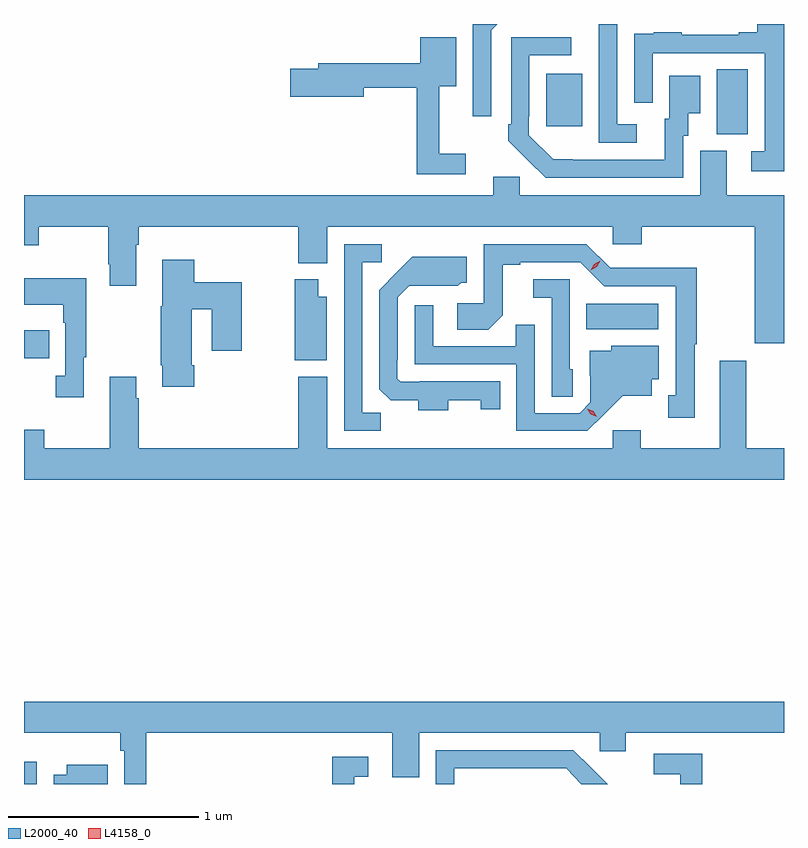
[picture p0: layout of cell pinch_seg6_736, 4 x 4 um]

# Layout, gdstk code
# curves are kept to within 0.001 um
import gdstk
lib = gdstk.Library(unit=1e-6, precision=1e-09)
def R(c, l, rs):  # rectangles x0, y0, x1, y1
    for r in rs: c.add(gdstk.rectangle(r[:2], r[2:], *l))
def P(c, l, *ps):  # polygons
    for p in ps: c.add(gdstk.Polygon(p, *l))
L2000_40 = (2000, 40)
L4158_0 = (4158, 0)

pinch_seg6_736 = lib.new_cell('pinch_seg6_736')
R(pinch_seg6_736, L2000_40, [(592.174,947.066,592.242,947.182), (592.174,949.306,592.307,949.453), (595.132,949.46,595.513,949.594), (595.82,950.485,595.984,950.828), (594.923,950.529,595.111,950.803)])
P(pinch_seg6_736, L2000_40, [(594.633,951.033),(594.666,951.066),(594.537,951.066),(594.537,950.58),(594.633,950.58)],
  [(595.399,950.538),(595.296,950.538),(595.296,951.066),(595.199,951.066),(595.199,950.899),(595.2,950.899),(595.2,950.442),(595.399,950.442)],
  [(596.174,951.066),(596.033,951.066),(596.033,951.022),(595.937,951.022),(595.937,951.009),(595.637,951.009),(595.637,951.022),(595.489,951.022),(595.489,951.015),(595.387,951.015),(595.387,950.906),(595.386,950.906),(595.386,950.652),(595.482,950.652),(595.482,950.913),(596.073,950.913),(596.073,950.397),(596.001,950.397),(596.001,950.292),(596.174,950.292)],
  [(595.644,950.478),(595.669,950.478),(595.669,950.597),(595.732,950.597),(595.732,950.794),(595.571,950.794),(595.571,950.568),(595.547,950.568),(595.547,950.352),(594.96,950.353),(594.831,950.481),(594.831,950.581),(594.834,950.581),(594.834,950.901),(595.054,950.901),(595.054,950.997),(594.738,950.997),(594.738,950.539),(594.723,950.539),(594.723,950.451),(594.92,950.256),(595.644,950.256)],
  [(594.499,950.383),(594.359,950.383),(594.359,950.738),(594.448,950.738),(594.448,950.995),(594.26,950.995),(594.26,950.86),(593.723,950.86),(593.723,950.831),(593.574,950.831),(593.574,950.684),(593.962,950.684),(593.962,950.731),(594.241,950.731),(594.241,950.274),(594.499,950.274)],
  [(596.174,950.164),(595.873,950.164),(595.873,950.4),(595.733,950.4),(595.733,950.164),(594.783,950.164),(594.783,950.262),(594.644,950.262),(594.644,950.164),(592.174,950.164),(592.174,949.901),(592.251,949.901),(592.251,950),(592.618,950),(592.618,949.801),(592.625,949.801),(592.625,949.689),(592.765,949.689),(592.765,949.904),(592.778,949.904),(592.778,950),(593.618,950),(593.618,949.808),(593.77,949.808),(593.77,950),(595.272,950),(595.272,949.907),(595.424,949.907),(595.424,950),(596.021,950),(596.021,949.386),(596.174,949.386)],
  [(594.051,949.019),(593.955,949.019),(593.955,949.812),(594.058,949.812),(594.058,949.908),(593.859,949.908),(593.859,948.924),(594.051,948.924)],
  [(595.705,949.381),(595.715,949.381),(595.715,949.784),(595.482,949.784),(595.482,949.782),(595.26,949.782),(595.134,949.908),(594.594,949.908),(594.594,949.596),(594.453,949.596),(594.453,949.456),(594.617,949.456),(594.693,949.532),(594.693,949.8),(594.787,949.8),(594.787,949.812),(595.101,949.812),(595.227,949.686),(595.604,949.686),(595.604,949.113),(595.565,949.113),(595.565,948.993),(595.705,948.993)],
  [(594.406,949.087),(594.579,949.087),(594.579,949.038),(594.68,949.038),(594.68,949.185),(594.256,949.185),(594.256,949.182),(594.156,949.182),(594.138,949.2),(594.138,949.3),(594.141,949.3),(594.141,949.629),(594.201,949.689),(594.458,949.688),(594.474,949.704),(594.505,949.704),(594.505,949.84),(594.217,949.84),(594.045,949.666),(594.045,949.144),(594.104,949.085),(594.248,949.085),(594.248,949.034),(594.406,949.034)],
  [(593.069,949.27),(593.056,949.27),(593.056,949.565),(593.162,949.565),(593.162,949.347),(593.32,949.347),(593.32,949.707),(593.069,949.707),(593.069,949.825),(592.901,949.825),(592.901,949.581),(592.894,949.581),(592.894,949.27),(592.901,949.27),(592.901,949.158),(593.069,949.158)],
  [(592.489,949.313),(592.501,949.313),(592.501,949.729),(592.174,949.729),(592.174,949.589),(592.38,949.589),(592.38,949.493),(592.392,949.493),(592.392,949.214),(592.341,949.214),(592.341,949.101),(592.489,949.101)],
  [(593.767,949.63),(593.722,949.63),(593.722,949.723),(593.6,949.723),(593.6,949.295),(593.767,949.295)],
  [(595.062,949.248),(595.047,949.248),(595.047,949.722),(594.855,949.722),(594.855,949.625),(594.951,949.625),(594.951,949.105),(595.062,949.105)],
  [(595.222,949.007),(595.325,949.109),(595.477,949.109),(595.477,949.196),(595.516,949.196),(595.516,949.372),(595.266,949.372),(595.266,949.345),(595.151,949.345),(595.151,949.216),(595.155,949.216),(595.155,949.074),(595.098,949.017),(594.861,949.017),(594.861,949.484),(594.763,949.484),(594.763,949.371),(594.327,949.371),(594.327,949.585),(594.231,949.585),(594.231,949.275),(594.765,949.275),(594.765,948.924),(595.138,948.924)],
  [(595.272,948.928),(595.272,948.832),(593.77,948.832),(593.77,949.21),(593.618,949.21),(593.618,948.832),(592.778,948.832),(592.778,949.097),(592.765,949.097),(592.765,949.21),(592.625,949.21),(592.625,948.832),(592.281,948.832),(592.281,948.931),(592.174,948.931),(592.174,948.668),(596.174,948.668),(596.174,948.832),(595.975,948.832),(595.975,949.294),(595.835,949.294),(595.835,948.832),(595.419,948.832),(595.419,948.928)],
  [(592.817,947.336),(594.113,947.336),(594.113,947.101),(594.253,947.101),(594.253,947.336),(595.203,947.336),(595.203,947.238),(595.342,947.238),(595.342,947.336),(596.174,947.336),(596.174,947.5),(592.174,947.5),(592.174,947.336),(592.681,947.336),(592.681,947.24),(592.701,947.24),(592.701,947.066),(592.817,947.066)],
  [(594.439,947.148),(595.027,947.148),(595.108,947.066),(595.246,947.066),(595.158,947.154),(595.157,947.153),(595.066,947.244),(594.342,947.244),(594.342,947.066),(594.439,947.066)],
  [(595.745,947.226),(595.488,947.226),(595.488,947.118),(595.628,947.118),(595.628,947.066),(595.745,947.066)],
  [(593.913,947.103),(593.986,947.103),(593.986,947.209),(593.797,947.209),(593.797,947.066),(593.913,947.066)],
  [(592.616,947.167),(592.4,947.167),(592.4,947.116),(592.331,947.116),(592.331,947.066),(592.616,947.066)])
P(pinch_seg6_736, L4158_0, [(595.156,949.77),(595.156,949.77),(595.174,949.802),(595.206,949.821),(595.206,949.821),(595.206,949.821),(595.189,949.789),(595.157,949.77)],
  [(595.188,948.998),(595.157,949.012),(595.139,949.041),(595.139,949.041),(595.139,949.041),(595.17,949.027),(595.188,948.998),(595.188,948.998)])

lib.write_gds('pinch_seg6_736.gds')
